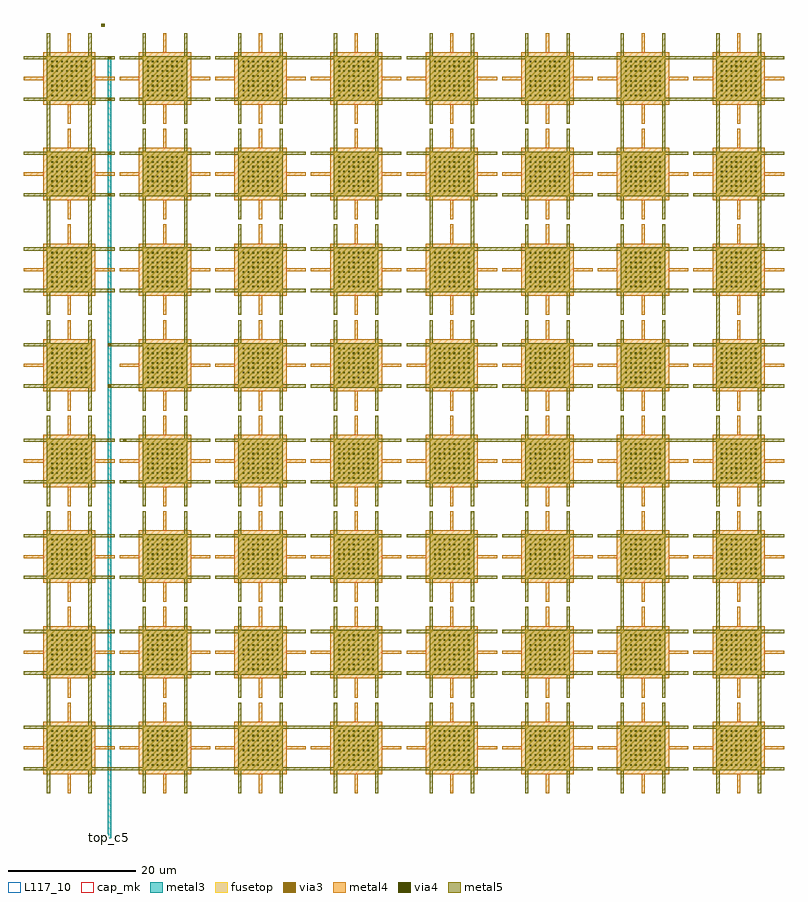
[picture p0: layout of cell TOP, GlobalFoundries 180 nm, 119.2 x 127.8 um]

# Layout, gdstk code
from math import pi, radians
import gdstk
lib = gdstk.Library(unit=1e-6, precision=5e-09)
def R(c, l, rs):  # rectangles x0, y0, x1, y1
    for r in rs: c.add(gdstk.rectangle(r[:2], r[2:], *l))
def A(c, l, x, y, w, h, nx, ny, dx, dy):  # array of equal rectangles
    R(c, l, [(x+i*dx, y+j*dy, x+i*dx+w, y+j*dy+h) for i in range(nx) for j in range(ny)])
via3 = (40, 0)
via4 = (41, 0)
metal3 = (42, 0)
metal4 = (46, 0)
fusetop = (75, 0)
metal5 = (81, 0)
cap_mk = (117, 5)
L117_10 = (117, 10)

cap_mim = lib.new_cell('cap_mim')
A(cap_mim, via4, 0.71, 0.71, 0.26, 0.26, 8, 8, 0.76, 0.76)
R(cap_mim, metal4, [(-0.6,-0.6,7.6,7.6)])
R(cap_mim, fusetop, [(0,0,7,7)])
R(cap_mim, metal5, [(0,0,7,7)])
R(cap_mim, cap_mk, [(-0.6,-0.6,7.6,7.6)])
R(cap_mim, L117_10, [(0,0,7,0.1)])

unit_mimcap_centre = lib.new_cell('unit_mimcap_centre')
A(unit_mimcap_centre, metal4, 3.8, 194.75, 3, 0.5, 8, 3, 15, 15)
A(unit_mimcap_centre, metal4, 18.8, 239.75, 3, 0.5, 7, 2, 15, 15)
A(unit_mimcap_centre, metal4, 3.8, 269.75, 3, 0.5, 8, 3, 15, 15)
R(unit_mimcap_centre, metal4, [(3.8,239.75,6.8,240.25), (7.6,239.75,10.6,240.25)])
unit_mimcap_centre.add(gdstk.Reference(cap_mim, (18.2,198.5), rotation=pi))
unit_mimcap_centre.add(gdstk.Reference(cap_mim, (33.2,198.5), rotation=pi))
unit_mimcap_centre.add(gdstk.Reference(cap_mim, (48.2,198.5), rotation=pi))
unit_mimcap_centre.add(gdstk.Reference(cap_mim, (63.2,198.5), rotation=pi))
unit_mimcap_centre.add(gdstk.Reference(cap_mim, (78.2,198.5), rotation=pi))
unit_mimcap_centre.add(gdstk.Reference(cap_mim, (93.2,198.5), rotation=pi))
unit_mimcap_centre.add(gdstk.Reference(cap_mim, (108.2,198.5), rotation=pi))
unit_mimcap_centre.add(gdstk.Reference(cap_mim, (3.2,213.5), rotation=pi))
unit_mimcap_centre.add(gdstk.Reference(cap_mim, (18.2,213.5), rotation=pi))
unit_mimcap_centre.add(gdstk.Reference(cap_mim, (33.2,213.5), rotation=pi))
unit_mimcap_centre.add(gdstk.Reference(cap_mim, (48.2,213.5), rotation=pi))
unit_mimcap_centre.add(gdstk.Reference(cap_mim, (63.2,213.5), rotation=pi))
unit_mimcap_centre.add(gdstk.Reference(cap_mim, (78.2,213.5), rotation=pi))
unit_mimcap_centre.add(gdstk.Reference(cap_mim, (93.2,213.5), rotation=pi))
unit_mimcap_centre.add(gdstk.Reference(cap_mim, (108.2,213.5), rotation=pi))
unit_mimcap_centre.add(gdstk.Reference(cap_mim, (3.2,228.5), rotation=pi))
unit_mimcap_centre.add(gdstk.Reference(cap_mim, (18.2,228.5), rotation=pi))
unit_mimcap_centre.add(gdstk.Reference(cap_mim, (33.2,228.5), rotation=pi))
unit_mimcap_centre.add(gdstk.Reference(cap_mim, (48.2,228.5), rotation=pi))
unit_mimcap_centre.add(gdstk.Reference(cap_mim, (63.2,228.5), rotation=pi))
unit_mimcap_centre.add(gdstk.Reference(cap_mim, (78.2,228.5), rotation=pi))
unit_mimcap_centre.add(gdstk.Reference(cap_mim, (93.2,228.5), rotation=pi))
unit_mimcap_centre.add(gdstk.Reference(cap_mim, (108.2,228.5), rotation=pi))
unit_mimcap_centre.add(gdstk.Reference(cap_mim, (3.2,243.5), rotation=pi))
unit_mimcap_centre.add(gdstk.Reference(cap_mim, (18.2,243.5), rotation=pi))
unit_mimcap_centre.add(gdstk.Reference(cap_mim, (33.2,243.5), rotation=pi))
unit_mimcap_centre.add(gdstk.Reference(cap_mim, (48.2,243.5), rotation=pi))
unit_mimcap_centre.add(gdstk.Reference(cap_mim, (63.2,243.5), rotation=pi))
unit_mimcap_centre.add(gdstk.Reference(cap_mim, (78.2,243.5), rotation=pi))
unit_mimcap_centre.add(gdstk.Reference(cap_mim, (93.2,243.5), rotation=pi))
unit_mimcap_centre.add(gdstk.Reference(cap_mim, (108.2,243.5), rotation=pi))
unit_mimcap_centre.add(gdstk.Reference(cap_mim, (3.2,258.5), rotation=pi))
unit_mimcap_centre.add(gdstk.Reference(cap_mim, (18.2,258.5), rotation=pi))
unit_mimcap_centre.add(gdstk.Reference(cap_mim, (33.2,258.5), rotation=pi))
unit_mimcap_centre.add(gdstk.Reference(cap_mim, (48.2,258.5), rotation=pi))
unit_mimcap_centre.add(gdstk.Reference(cap_mim, (63.2,258.5), rotation=pi))
unit_mimcap_centre.add(gdstk.Reference(cap_mim, (78.2,258.5), rotation=pi))
unit_mimcap_centre.add(gdstk.Reference(cap_mim, (93.2,258.5), rotation=pi))
unit_mimcap_centre.add(gdstk.Reference(cap_mim, (108.2,258.5), rotation=pi))
unit_mimcap_centre.add(gdstk.Reference(cap_mim, (3.2,273.5), rotation=pi))
unit_mimcap_centre.add(gdstk.Reference(cap_mim, (18.2,273.5), rotation=pi))
unit_mimcap_centre.add(gdstk.Reference(cap_mim, (33.2,273.5), rotation=pi))
unit_mimcap_centre.add(gdstk.Reference(cap_mim, (48.2,273.5), rotation=pi))
unit_mimcap_centre.add(gdstk.Reference(cap_mim, (63.2,273.5), rotation=pi))
unit_mimcap_centre.add(gdstk.Reference(cap_mim, (78.2,273.5), rotation=pi))
unit_mimcap_centre.add(gdstk.Reference(cap_mim, (93.2,273.5), rotation=pi))
unit_mimcap_centre.add(gdstk.Reference(cap_mim, (108.2,273.5), rotation=pi))
unit_mimcap_centre.add(gdstk.Reference(cap_mim, (3.2,198.5), rotation=pi))
unit_mimcap_centre.add(gdstk.Reference(cap_mim, (3.2,288.5), rotation=pi))
unit_mimcap_centre.add(gdstk.Reference(cap_mim, (18.2,288.5), rotation=pi))
unit_mimcap_centre.add(gdstk.Reference(cap_mim, (33.2,288.5), rotation=pi))
unit_mimcap_centre.add(gdstk.Reference(cap_mim, (48.2,288.5), rotation=pi))
unit_mimcap_centre.add(gdstk.Reference(cap_mim, (63.2,288.5), rotation=pi))
unit_mimcap_centre.add(gdstk.Reference(cap_mim, (78.2,288.5), rotation=pi))
unit_mimcap_centre.add(gdstk.Reference(cap_mim, (93.2,288.5), rotation=pi))
unit_mimcap_centre.add(gdstk.Reference(cap_mim, (108.2,288.5), rotation=pi))
unit_mimcap_centre.add(gdstk.Reference(cap_mim, (3.2,303.5), rotation=pi))
unit_mimcap_centre.add(gdstk.Reference(cap_mim, (18.2,303.5), rotation=pi))
unit_mimcap_centre.add(gdstk.Reference(cap_mim, (33.2,303.5), rotation=pi))
unit_mimcap_centre.add(gdstk.Reference(cap_mim, (48.2,303.5), rotation=pi))
unit_mimcap_centre.add(gdstk.Reference(cap_mim, (63.2,303.5), rotation=pi))
unit_mimcap_centre.add(gdstk.Reference(cap_mim, (78.2,303.5), rotation=pi))
unit_mimcap_centre.add(gdstk.Reference(cap_mim, (93.2,303.5), rotation=pi))
unit_mimcap_centre.add(gdstk.Reference(cap_mim, (108.2,303.5), rotation=pi))

via_stack_m3_to_m5 = lib.new_cell('via_stack_m3_to_m5')
R(via_stack_m3_to_m5, via3, [(0,0,0.5,0.5)])
R(via_stack_m3_to_m5, via4, [(0,0,0.5,0.5)])
R(via_stack_m3_to_m5, metal3, [(0,0,0.5,0.5)])
R(via_stack_m3_to_m5, metal4, [(0,0,0.5,0.5)])
R(via_stack_m3_to_m5, metal5, [(0,0,0.5,0.5)])

top = lib.new_cell('TOP')
R(top, via3, [(-9.6,233.9,-9.1,234.4), (-9.6,240.4,-9.1,240.9), (-12,248.9,-11.5,249.4), (-12,255.4,-11.5,255.9), (-12,278.9,-11.5,279.4), (-12,285.4,-11.5,285.9), (-12,293.9,-11.5,294.4), (-12,300.4,-11.5,300.9), (-13,305.5,-12.5,306)])
R(top, via4, [(-9.6,233.9,-9.1,234.4), (-9.6,240.4,-9.1,240.9), (-12,248.9,-11.5,249.4), (-12,255.4,-11.5,255.9), (-12,278.9,-11.5,279.4), (-12,285.4,-11.5,285.9), (-12,293.9,-11.5,294.4), (-12,300.4,-11.5,300.9), (-13,305.5,-12.5,306)])
R(top, metal3, [(-12,178.2,-11.5,249.4), (-9.6,233.9,-9.1,234.4), (-9.6,240.4,-9.1,240.9), (-12,248.9,-11.5,279.4), (-12,278.9,-11.5,279.4), (-12,278.9,-11.5,300.9), (-12,285.4,-11.5,285.9), (-12,293.9,-11.5,294.4), (-12,300.4,-11.5,300.9), (-13,305.5,-12.5,306)])
A(top, metal4, -18.3, 185.3, 0.5, 3, 8, 2, 15, 11.2)
A(top, metal4, -25.15, 192.15, 3, 0.5, 8, 3, 15, 15)
A(top, metal4, -18.3, 200.3, 0.5, 3, 8, 2, 15, 11.2)
A(top, metal4, -18.3, 215.3, 0.5, 3, 8, 2, 15, 11.2)
A(top, metal4, -18.3, 230.3, 0.5, 3, 8, 2, 15, 11.2)
A(top, metal4, 4.85, 237.15, 3, 0.5, 6, 1, 15, 0)
A(top, metal4, -18.3, 245.3, 0.5, 3, 8, 2, 15, 11.2)
A(top, metal4, -25.15, 252.15, 3, 0.5, 8, 4, 15, 15)
A(top, metal4, -18.3, 260.3, 0.5, 3, 8, 2, 15, 11.2)
A(top, metal4, -18.3, 275.3, 0.5, 3, 8, 2, 15, 11.2)
A(top, metal4, -18.3, 290.3, 0.5, 3, 8, 2, 15, 11.2)
R(top, metal4, [(-9.6,233.9,-9.1,234.4), (-25.15,237.15,-22.15,237.65), (-9.6,240.4,-9.1,240.9), (-12,248.9,-11.5,249.4), (-12,255.4,-11.5,255.9), (-12,278.9,-11.5,279.4), (-12,285.4,-11.5,285.9), (-12,293.9,-11.5,294.4), (-12,300.4,-11.5,300.9), (-13,305.5,-12.5,306)])
A(top, metal5, -10.95, 188.9, 0.8, 0.5, 5, 2, 15, 6.5)
A(top, metal5, 49.05, 233.9, 0.8, 0.5, 3, 2, 15, 6.5)
A(top, metal5, 83.45, 259.5, 0.5, 0.8, 1, 3, 0, 15)
A(top, metal5, 89.95, 259.5, 0.5, 0.8, 1, 3, 0, 15)
R(top, metal5, [(-21.55,185.3,-21.05,188.9), (-15.05,185.3,-14.55,188.9), (-6.55,185.3,-6.05,188.9), (-0.05,185.3,0.45,188.9), (8.45,185.3,8.95,188.9), (14.95,185.3,15.45,188.9), (23.45,185.3,23.95,188.9), (29.95,185.3,30.45,188.9), (38.45,185.3,38.95,188.9), (44.95,185.3,45.45,188.9), (53.45,185.3,53.95,188.9), (59.95,185.3,60.45,188.9), (68.45,185.3,68.95,188.9), (74.95,185.3,75.45,188.9), (83.45,185.3,83.95,188.9), (89.95,185.3,90.45,188.9), (-25.15,188.9,-21.55,189.4), (-14.55,188.9,-10.95,189.4), (-10.15,188.9,-6.55,189.4), (0.45,188.9,4.05,189.4), (4.85,188.9,8.45,189.4), (15.45,188.9,19.05,189.4), (19.85,188.9,23.45,189.4), (30.45,188.9,34.05,189.4), (34.85,188.9,38.45,189.4), (45.45,188.9,49.05,189.4), (49.85,188.9,53.45,189.4), (60.45,188.9,64.05,189.4), (64.85,188.9,68.45,189.4), (75.45,188.9,79.05,189.4), (79.85,188.9,83.45,189.4), (90.45,188.9,94.05,189.4), (-25.15,195.4,-21.55,195.9), (-14.55,195.4,-10.95,195.9), (-10.15,195.4,-6.55,195.9), (0.45,195.4,4.05,195.9), (4.85,195.4,8.45,195.9), (15.45,195.4,19.05,195.9), (19.85,195.4,23.45,195.9), (30.45,195.4,34.05,195.9), (34.85,195.4,38.45,195.9), (45.45,195.4,49.05,195.9), (49.85,195.4,53.45,195.9), (60.45,195.4,64.05,195.9), (64.85,195.4,68.45,195.9), (75.45,195.4,79.05,195.9), (79.85,195.4,83.45,195.9), (90.45,195.4,94.05,195.9), (-21.55,195.9,-21.05,199.5), (-15.05,195.9,-14.55,199.5), (-6.55,195.9,-6.05,199.5), (-0.05,195.9,0.45,199.5), (8.45,195.9,8.95,199.5), (14.95,195.9,15.45,199.5), (23.45,195.9,23.95,199.5), (29.95,195.9,30.45,199.5), (38.45,195.9,38.95,199.5), (44.95,195.9,45.45,199.5), (53.45,195.9,53.95,199.5), (59.95,195.9,60.45,199.5), (68.45,195.9,68.95,199.5), (74.95,195.9,75.45,199.5), (83.45,195.9,83.95,199.5), (89.95,195.9,90.45,199.5), (-21.55,199.5,-21.05,200.3), (-15.05,199.5,-14.55,200.3), (-6.55,199.5,-6.05,200.3), (-0.05,199.5,0.45,200.3), (83.45,199.5,83.95,200.3), (89.95,199.5,90.45,200.3), (-21.55,200.3,-21.05,203.9), (-15.05,200.3,-14.55,203.9), (-6.55,200.3,-6.05,203.9), (-0.05,200.3,0.45,203.9), (8.45,200.3,8.95,203.9), (14.95,200.3,15.45,203.9), (23.45,200.3,23.95,203.9), (29.95,200.3,30.45,203.9), (38.45,200.3,38.95,203.9), (44.95,200.3,45.45,203.9), (53.45,200.3,53.95,203.9), (59.95,200.3,60.45,203.9), (68.45,200.3,68.95,203.9), (74.95,200.3,75.45,203.9), (83.45,200.3,83.95,203.9), (89.95,200.3,90.45,203.9), (-25.15,203.9,-21.55,204.4), (-14.55,203.9,-10.95,204.4), (-10.15,203.9,-6.55,204.4), (0.45,203.9,4.05,204.4), (4.85,203.9,8.45,204.4), (15.45,203.9,19.05,204.4), (19.85,203.9,23.45,204.4), (30.45,203.9,34.05,204.4), (34.85,203.9,38.45,204.4), (45.45,203.9,49.05,204.4), (49.85,203.9,53.45,204.4), (60.45,203.9,64.05,204.4), (64.85,203.9,68.45,204.4), (75.45,203.9,79.05,204.4), (79.85,203.9,83.45,204.4), (90.45,203.9,94.05,204.4), (-25.15,210.4,-21.55,210.9), (-14.55,210.4,-10.95,210.9), (-10.15,210.4,-6.55,210.9), (0.45,210.4,4.05,210.9), (4.85,210.4,8.45,210.9), (15.45,210.4,19.05,210.9), (19.85,210.4,23.45,210.9), (30.45,210.4,34.05,210.9), (34.85,210.4,38.45,210.9), (45.45,210.4,49.05,210.9), (49.85,210.4,53.45,210.9), (60.45,210.4,64.05,210.9), (64.85,210.4,68.45,210.9), (75.45,210.4,79.05,210.9), (79.85,210.4,83.45,210.9), (90.45,210.4,94.05,210.9), (-21.55,210.9,-21.05,214.5), (-15.05,210.9,-14.55,214.5), (-6.55,210.9,-6.05,214.5), (-0.05,210.9,0.45,214.5), (8.45,210.9,8.95,214.5), (14.95,210.9,15.45,214.5), (23.45,210.9,23.95,214.5), (29.95,210.9,30.45,214.5), (38.45,210.9,38.95,214.5), (44.95,210.9,45.45,214.5), (53.45,210.9,53.95,214.5), (59.95,210.9,60.45,214.5), (68.45,210.9,68.95,214.5), (74.95,210.9,75.45,214.5), (83.45,210.9,83.95,214.5), (89.95,210.9,90.45,214.5), (-21.55,214.5,-21.05,215.3), (-15.05,214.5,-14.55,215.3), (68.45,214.5,68.95,215.3), (74.95,214.5,75.45,215.3), (83.45,214.5,83.95,215.3), (89.95,214.5,90.45,215.3), (-21.55,215.3,-21.05,218.9), (-15.05,215.3,-14.55,218.9), (-6.55,215.3,-6.05,218.9), (-0.05,215.3,0.45,218.9), (8.45,215.3,8.95,218.9), (14.95,215.3,15.45,218.9), (23.45,215.3,23.95,218.9), (29.95,215.3,30.45,218.9), (38.45,215.3,38.95,218.9), (44.95,215.3,45.45,218.9), (53.45,215.3,53.95,218.9), (59.95,215.3,60.45,218.9), (68.45,215.3,68.95,218.9), (74.95,215.3,75.45,218.9), (83.45,215.3,83.95,218.9), (89.95,215.3,90.45,218.9), (-25.15,218.9,-21.55,219.4), (-14.55,218.9,-10.95,219.4), (-10.15,218.9,-6.55,219.4), (0.45,218.9,4.05,219.4), (4.85,218.9,8.45,219.4), (15.45,218.9,19.05,219.4), (19.85,218.9,23.45,219.4), (30.45,218.9,34.05,219.4), (34.85,218.9,38.45,219.4), (45.45,218.9,49.05,219.4), (49.85,218.9,53.45,219.4), (60.45,218.9,64.05,219.4), (64.85,218.9,68.45,219.4), (75.45,218.9,79.05,219.4), (79.85,218.9,83.45,219.4), (90.45,218.9,94.05,219.4), (-25.15,225.4,-21.55,225.9), (-14.55,225.4,-10.95,225.9), (-10.15,225.4,-6.55,225.9), (0.45,225.4,4.05,225.9), (4.85,225.4,8.45,225.9), (15.45,225.4,19.05,225.9), (19.85,225.4,23.45,225.9), (30.45,225.4,34.05,225.9), (34.85,225.4,38.45,225.9), (45.45,225.4,49.05,225.9), (49.85,225.4,53.45,225.9), (60.45,225.4,64.05,225.9), (64.85,225.4,68.45,225.9), (75.45,225.4,79.05,225.9), (79.85,225.4,83.45,225.9), (90.45,225.4,94.05,225.9), (-21.55,225.9,-21.05,229.5), (-15.05,225.9,-14.55,229.5), (-6.55,225.9,-6.05,229.5), (-0.05,225.9,0.45,229.5), (8.45,225.9,8.95,229.5), (14.95,225.9,15.45,229.5), (23.45,225.9,23.95,229.5), (29.95,225.9,30.45,229.5), (38.45,225.9,38.95,229.5), (44.95,225.9,45.45,229.5), (53.45,225.9,53.95,229.5), (59.95,225.9,60.45,229.5), (68.45,225.9,68.95,229.5), (74.95,225.9,75.45,229.5), (83.45,225.9,83.95,229.5), (89.95,225.9,90.45,229.5), (68.45,229.5,68.95,230.3), (74.95,229.5,75.45,230.3), (-21.55,230.3,-21.05,233.9), (-15.05,230.3,-14.55,233.9), (-6.55,230.3,-6.05,233.9), (-0.05,230.3,0.45,233.9), (8.45,230.3,8.95,233.9), (14.95,230.3,15.45,233.9), (23.45,230.3,23.95,233.9), (29.95,230.3,30.45,233.9), (38.45,230.3,38.95,233.9), (44.95,230.3,45.45,233.9), (53.45,230.3,53.95,233.9), (59.95,230.3,60.45,233.9), (68.45,230.3,68.95,233.9), (74.95,230.3,75.45,233.9), (83.45,230.3,83.95,233.9), (89.95,230.3,90.45,233.9), (-25.15,233.9,-21.55,234.4), (-14.55,233.9,-10.95,234.4), (-10.15,233.9,-6.55,234.4), (-9.6,233.9,-9.1,234.4), (0.45,233.9,4.05,234.4), (4.85,233.9,8.45,234.4), (15.45,233.9,19.05,234.4), (19.85,233.9,23.45,234.4), (30.45,233.9,34.05,234.4), (34.85,233.9,38.45,234.4), (45.45,233.9,49.05,234.4), (49.85,233.9,53.45,234.4), (60.45,233.9,64.05,234.4), (64.85,233.9,68.45,234.4), (75.45,233.9,79.05,234.4), (79.85,233.9,83.45,234.4), (90.45,233.9,94.05,234.4), (-25.15,240.4,-21.55,240.9), (-14.55,240.4,-10.95,240.9), (-10.15,240.4,-6.55,240.9), (-9.6,240.4,-9.1,240.9), (0.45,240.4,4.05,240.9), (4.85,240.4,8.45,240.9), (15.45,240.4,19.05,240.9), (19.85,240.4,23.45,240.9), (30.45,240.4,34.05,240.9), (34.85,240.4,38.45,240.9), (45.45,240.4,49.05,240.9), (49.85,240.4,53.45,240.9), (60.45,240.4,64.05,240.9), (64.85,240.4,68.45,240.9), (75.45,240.4,79.05,240.9), (79.85,240.4,83.45,240.9), (90.45,240.4,94.05,240.9), (-21.55,240.9,-21.05,244.5), (-15.05,240.9,-14.55,244.5), (-6.55,240.9,-6.05,244.5), (-0.05,240.9,0.45,244.5), (8.45,240.9,8.95,244.5), (14.95,240.9,15.45,244.5), (23.45,240.9,23.95,244.5), (29.95,240.9,30.45,244.5), (38.45,240.9,38.95,244.5), (44.95,240.9,45.45,244.5), (53.45,240.9,53.95,244.5), (59.95,240.9,60.45,244.5), (68.45,240.9,68.95,244.5), (74.95,240.9,75.45,244.5), (83.45,240.9,83.95,244.5), (89.95,240.9,90.45,244.5), (38.45,244.5,38.95,245.3), (44.95,244.5,45.45,245.3), (-21.55,245.3,-21.05,248.9), (-15.05,245.3,-14.55,248.9), (-6.55,245.3,-6.05,248.9), (-0.05,245.3,0.45,248.9), (8.45,245.3,8.95,248.9), (14.95,245.3,15.45,248.9), (23.45,245.3,23.95,248.9), (29.95,245.3,30.45,248.9), (38.45,245.3,38.95,248.9), (44.95,245.3,45.45,248.9), (53.45,245.3,53.95,248.9), (59.95,245.3,60.45,248.9), (68.45,245.3,68.95,248.9), (74.95,245.3,75.45,248.9), (83.45,245.3,83.95,248.9), (89.95,245.3,90.45,248.9), (-25.15,248.9,-21.55,249.4), (-12,248.9,-11.5,249.4), (-12,248.9,-11,249.4), (-11,248.9,-10.15,249.4), (-11,248.9,-10,249.4), (-10.15,248.9,-6.55,249.4), (0.45,248.9,4.05,249.4), (4.05,248.9,4.85,249.4), (4.85,248.9,8.45,249.4), (15.45,248.9,19.05,249.4), (19.85,248.9,23.45,249.4), (30.45,248.9,34.05,249.4), (34.85,248.9,38.45,249.4), (45.45,248.9,49.05,249.4), (49.85,248.9,53.45,249.4), (60.45,248.9,64.05,249.4), (64.85,248.9,68.45,249.4), (75.45,248.9,79.05,249.4), (79.85,248.9,83.45,249.4), (90.45,248.9,94.05,249.4), (-25.15,255.4,-21.55,255.9), (-12,255.4,-11.5,255.9), (-12,255.4,-11,255.9), (-11,255.4,-10,255.9), (-10.15,255.4,-6.55,255.9), (0.45,255.4,4.05,255.9), (4,255.4,4.85,255.9), (4.85,255.4,8.45,255.9), (15.45,255.4,19.05,255.9), (19.85,255.4,23.45,255.9), (30.45,255.4,34.05,255.9), (34.85,255.4,38.45,255.9), (45.45,255.4,49.05,255.9), (49.85,255.4,53.45,255.9), (60.45,255.4,64.05,255.9), (64.85,255.4,68.45,255.9), (75.45,255.4,79.05,255.9), (79.85,255.4,83.45,255.9), (90.45,255.4,94.05,255.9), (-21.55,255.9,-21.05,259.5), (-15.05,255.9,-14.55,259.5), (-6.55,255.9,-6.05,259.5), (-0.05,255.9,0.45,259.5), (8.45,255.9,8.95,259.5), (14.95,255.9,15.45,259.5), (23.45,255.9,23.95,259.5), (29.95,255.9,30.45,259.5), (38.45,255.9,38.95,259.5), (44.95,255.9,45.45,259.5), (53.45,255.9,53.95,259.5), (59.95,255.9,60.45,259.5), (68.45,255.9,68.95,259.5), (74.95,255.9,75.45,259.5), (83.45,255.9,83.95,259.5), (89.95,255.9,90.45,259.5), (-6.55,259.5,-6.05,260.3), (-0.05,259.5,0.45,260.3), (-21.55,260.3,-21.05,263.9), (-15.05,260.3,-14.55,263.9), (-6.55,260.3,-6.05,263.9), (-0.05,260.3,0.45,263.9), (8.45,260.3,8.95,263.9), (14.95,260.3,15.45,263.9), (23.45,260.3,23.95,263.9), (29.95,260.3,30.45,263.9), (38.45,260.3,38.95,263.9), (44.95,260.3,45.45,263.9), (53.45,260.3,53.95,263.9), (59.95,260.3,60.45,263.9), (68.45,260.3,68.95,263.9), (74.95,260.3,75.45,263.9), (83.45,260.3,83.95,263.9), (89.95,260.3,90.45,263.9), (-25.15,263.9,-21.55,264.4), (-14.55,263.9,-10.95,264.4), (-10.15,263.9,-6.55,264.4), (0.45,263.9,4.05,264.4), (4.85,263.9,8.45,264.4), (15.45,263.9,19.05,264.4), (19.85,263.9,23.45,264.4), (30.45,263.9,34.05,264.4), (34.85,263.9,38.45,264.4), (45.45,263.9,49.05,264.4), (49.05,263.9,50,264.4), (49.85,263.9,53.45,264.4), (60.45,263.9,64.05,264.4), (64.05,263.9,64.85,264.4), (64.85,263.9,68.45,264.4), (75.45,263.9,79.05,264.4), (79.85,263.9,83.45,264.4), (90.45,263.9,94.05,264.4), (-25.15,270.4,-21.55,270.9), (-14.55,270.4,-10.95,270.9), (-10.15,270.4,-6.55,270.9), (0.45,270.4,4.05,270.9), (4.85,270.4,8.45,270.9), (15.45,270.4,19.05,270.9), (19.85,270.4,23.45,270.9), (30.45,270.4,34.05,270.9), (34.85,270.4,38.45,270.9), (45.45,270.4,49.05,270.9), (49.05,270.4,49.85,270.9), (49.85,270.4,53.45,270.9), (60.45,270.4,64.05,270.9), (64.05,270.4,65,270.9), (64.85,270.4,68.45,270.9), (75.45,270.4,79.05,270.9), (79.85,270.4,83.45,270.9), (90.45,270.4,94.05,270.9), (-21.55,270.9,-21.05,274.5), (-15.05,270.9,-14.55,274.5), (-6.55,270.9,-6.05,274.5), (-0.05,270.9,0.45,274.5), (8.45,270.9,8.95,274.5), (14.95,270.9,15.45,274.5), (23.45,270.9,23.95,274.5), (29.95,270.9,30.45,274.5), (38.45,270.9,38.95,274.5), (44.95,270.9,45.45,274.5), (53.45,270.9,53.95,274.5), (59.95,270.9,60.45,274.5), (68.45,270.9,68.95,274.5), (74.95,270.9,75.45,274.5), (83.45,270.9,83.95,274.5), (89.95,270.9,90.45,274.5), (-21.55,274.5,-21.05,275.3), (-15.05,274.5,-14.55,275.3), (-6.55,274.5,-6.05,275.3), (-0.05,274.5,0.45,275.3), (38.45,274.5,38.95,275.3), (44.95,274.5,45.45,275.3), (-21.55,275.3,-21.05,278.9), (-15.05,275.3,-14.55,278.9), (-6.55,275.3,-6.05,278.9), (-0.05,275.3,0.45,278.9), (8.45,275.3,8.95,278.9), (14.95,275.3,15.45,278.9), (23.45,275.3,23.95,278.9), (29.95,275.3,30.45,278.9), (38.45,275.3,38.95,278.9), (44.95,275.3,45.45,278.9), (53.45,275.3,53.95,278.9), (59.95,275.3,60.45,278.9), (68.45,275.3,68.95,278.9), (74.95,275.3,75.45,278.9), (83.45,275.3,83.95,278.9), (89.95,275.3,90.45,278.9), (-25.15,278.9,-21.55,279.4), (-14.55,278.9,-10.95,279.4), (-12,278.9,-11.5,279.4), (-10.15,278.9,-6.55,279.4), (0.45,278.9,4.05,279.4), (4.85,278.9,8.45,279.4), (15.45,278.9,19.05,279.4), (19.85,278.9,23.45,279.4), (30.45,278.9,34.05,279.4), (34.85,278.9,38.45,279.4), (45.45,278.9,49.05,279.4), (49.85,278.9,53.45,279.4), (60.45,278.9,64.05,279.4), (64.85,278.9,68.45,279.4), (75.45,278.9,79.05,279.4), (79.85,278.9,83.45,279.4), (90.45,278.9,94.05,279.4), (-25.15,285.4,-21.55,285.9), (-14.55,285.4,-10.95,285.9), (-12,285.4,-11.5,285.9), (-10.15,285.4,-6.55,285.9), (0.45,285.4,4.05,285.9), (4.85,285.4,8.45,285.9), (15.45,285.4,19.05,285.9), (19.85,285.4,23.45,285.9), (30.45,285.4,34.05,285.9), (34.85,285.4,38.45,285.9), (45.45,285.4,49.05,285.9), (49.85,285.4,53.45,285.9), (60.45,285.4,64.05,285.9), (64.85,285.4,68.45,285.9), (75.45,285.4,79.05,285.9), (79.85,285.4,83.45,285.9), (90.45,285.4,94.05,285.9), (-21.55,285.9,-21.05,289.5), (-15.05,285.9,-14.55,289.5), (-6.55,285.9,-6.05,289.5), (-0.05,285.9,0.45,289.5), (8.45,285.9,8.95,289.5), (14.95,285.9,15.45,289.5), (23.45,285.9,23.95,289.5), (29.95,285.9,30.45,289.5), (38.45,285.9,38.95,289.5), (44.95,285.9,45.45,289.5), (53.45,285.9,53.95,289.5), (59.95,285.9,60.45,289.5), (68.45,285.9,68.95,289.5), (74.95,285.9,75.45,289.5), (83.45,285.9,83.95,289.5), (89.95,285.9,90.45,289.5), (-21.55,289.5,-21.05,290.3), (-15.05,289.5,-14.55,290.3), (23.45,289.5,23.95,290.3), (29.95,289.5,30.45,290.3), (68.45,289.5,68.95,290.3), (74.95,289.5,75.45,290.3), (-21.55,290.3,-21.05,293.9), (-15.05,290.3,-14.55,293.9), (-6.55,290.3,-6.05,293.9), (-0.05,290.3,0.45,293.9), (8.45,290.3,8.95,293.9), (14.95,290.3,15.45,293.9), (23.45,290.3,23.95,293.9), (29.95,290.3,30.45,293.9), (38.45,290.3,38.95,293.9), (44.95,290.3,45.45,293.9), (53.45,290.3,53.95,293.9), (59.95,290.3,60.45,293.9), (68.45,290.3,68.95,293.9), (74.95,290.3,75.45,293.9), (83.45,290.3,83.95,293.9), (89.95,290.3,90.45,293.9), (-25.15,293.9,-21.55,294.4), (-14.55,293.9,-10.95,294.4), (-12,293.9,-11.5,294.4), (-10.15,293.9,-6.55,294.4), (0.45,293.9,4.05,294.4), (4.85,293.9,8.45,294.4), (15.45,293.9,19.05,294.4), (19.05,293.9,19.85,294.4), (19.85,293.9,23.45,294.4), (30.45,293.9,34.05,294.4), (34,293.9,34.85,294.4), (34.85,293.9,38.45,294.4), (45.45,293.9,49.05,294.4), (49.05,293.9,49.85,294.4), (49.85,293.9,53.45,294.4), (60.45,293.9,64.05,294.4), (64,293.9,64.85,294.4), (64.85,293.9,68.45,294.4), (75.45,293.9,79.05,294.4), (79,293.9,79.85,294.4), (79.85,293.9,83.45,294.4), (90.45,293.9,94.05,294.4), (-25.15,300.4,-21.55,300.9), (-14.55,300.4,-10.95,300.9), (-12,300.4,-11.5,300.9), (-10.15,300.4,-6.55,300.9), (0.45,300.4,4.05,300.9), (4.85,300.4,8.45,300.9), (15.45,300.4,19.05,300.9), (19,300.4,19.85,300.9), (19.85,300.4,23.45,300.9), (30.45,300.4,34.05,300.9), (34.85,300.4,38.45,300.9), (45.45,300.4,49.05,300.9), (49,300.4,49.85,300.9), (49.85,300.4,53.45,300.9), (60.45,300.4,64.05,300.9), (64,300.4,64.85,300.9), (64.85,300.4,68.45,300.9), (75.45,300.4,79.05,300.9), (79.05,300.4,79.85,300.9), (79.85,300.4,83.45,300.9), (90.45,300.4,94.05,300.9), (-21.55,300.9,-21.05,304.5), (-15.05,300.9,-14.55,304.5), (-6.55,300.9,-6.05,304.5), (-0.05,300.9,0.45,304.5), (8.45,300.9,8.95,304.5), (14.95,300.9,15.45,304.5), (23.45,300.9,23.95,304.5), (29.95,300.9,30.45,304.5), (38.45,300.9,38.95,304.5), (44.95,300.9,45.45,304.5), (53.45,300.9,53.95,304.5), (59.95,300.9,60.45,304.5), (68.45,300.9,68.95,304.5), (74.95,300.9,75.45,304.5), (83.45,300.9,83.95,304.5), (89.95,300.9,90.45,304.5), (-13,305.5,-12.5,306)])
top.add(gdstk.Reference(unit_mimcap_centre, (-17.75,-2.6)))
top.add(gdstk.Reference(via_stack_m3_to_m5, (-13,305.5)))
top.add(gdstk.Label('top_c5', (-11.7,178.4), layer=42, texttype=10))

lib.write_gds('TOP.gds')
